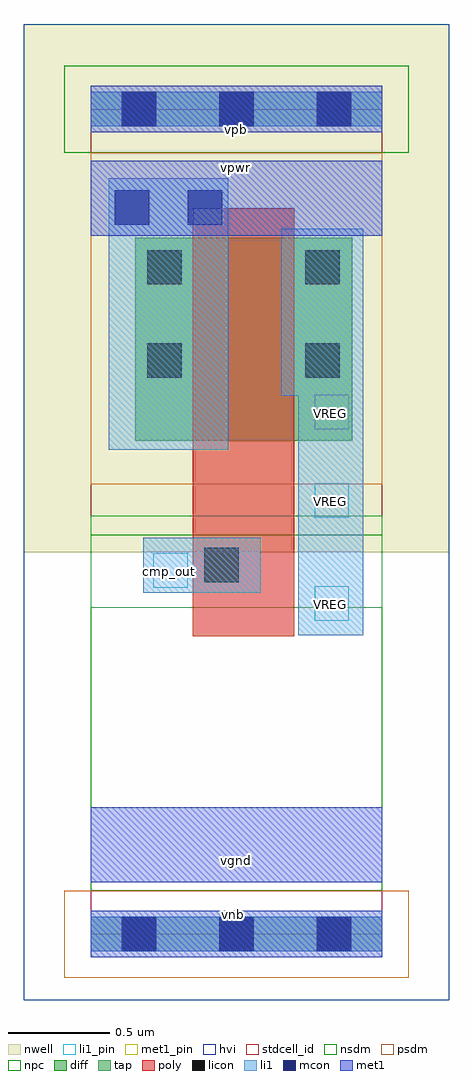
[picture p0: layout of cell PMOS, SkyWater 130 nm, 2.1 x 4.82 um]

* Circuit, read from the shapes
.subckt PMOS VREG cmp_out vgnd vnb vpb vpwr
XM1 VREG cmp_out vpwr vpb sky130_fd_pr__pfet_g5v0d10v5 w=1 l=0.5
.ends

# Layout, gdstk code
import gdstk
lib = gdstk.Library(unit=1e-6, precision=1e-09)
def R(c, l, rs):  # rectangles x0, y0, x1, y1
    for r in rs: c.add(gdstk.rectangle(r[:2], r[2:], *l))
def A(c, l, x, y, w, h, nx, ny, dx, dy):  # array of equal rectangles
    R(c, l, [(x+i*dx, y+j*dy, x+i*dx+w, y+j*dy+h) for i in range(nx) for j in range(ny)])
nwell = (64, 20)
diff = (65, 20)
tap = (65, 44)
poly = (66, 20)
licon = (66, 44)
li1_pin = (67, 16)
li1 = (67, 20)
mcon = (67, 44)
met1_pin = (68, 16)
met1 = (68, 20)
hvi = (75, 20)
stdcell_id = (81, 4)
nsdm = (93, 44)
psdm = (94, 20)
npc = (95, 20)

pmos = lib.new_cell('PMOS')
R(pmos, nwell, [(-0.33,1.885,1.77,4.49)])
R(pmos, diff, [(0.22,2.435,1.29,3.435)])
R(pmos, tap, [(0,-0.085,1.44,0.085), (0,3.985,1.44,4.155)])
R(pmos, poly, [(0.505,1.47,1.005,3.58)])
A(pmos, licon, 0.155, -0.085, 0.17, 0.17, 3, 2, 0.48, 4.07)
R(pmos, licon, [(0.56,1.735,0.73,1.905), (0.28,2.745,0.45,2.915), (1.06,2.745,1.23,2.915), (0.28,3.205,0.45,3.375), (1.06,3.205,1.23,3.375)])
R(pmos, li1_pin, [(1.105,1.545,1.275,1.715), (0.31,1.71,0.48,1.88), (1.105,2.055,1.275,2.225), (1.105,2.49,1.275,2.66)])
R(pmos, li1, [(0,-0.085,1.44,0.085), (1.025,1.475,1.345,3.48), (0.26,1.685,0.84,1.955), (0.09,2.39,0.68,3.73), (0.94,2.655,1.025,3.48), (0,3.985,1.44,4.155)])
A(pmos, mcon, 0.155, -0.085, 0.17, 0.17, 3, 2, 0.48, 4.07)
R(pmos, mcon, [(0.12,3.5,0.29,3.67), (0.48,3.5,0.65,3.67)])
R(pmos, met1_pin, [(0,0,1.44,0.115), (0,0.255,1.44,0.625), (0,3.445,1.44,3.815), (0,3.955,1.44,4.07)])
R(pmos, met1, [(0,-0.115,1.44,0.115), (0,0.255,1.44,0.625), (0,3.445,1.44,3.815), (0,3.955,1.44,4.185)])
R(pmos, hvi, [(-0.33,-0.325,1.77,4.49)])
R(pmos, stdcell_id, [(0,0,1.44,4.07)])
R(pmos, nsdm, [(0,0.215,1.44,1.97), (-0.13,3.855,1.57,4.285)])
R(pmos, psdm, [(-0.13,-0.215,1.57,0.215), (0,2.22,1.44,3.855)])
R(pmos, npc, [(0,1.61,1.44,2.065)])
pmos.add(gdstk.Label('vgnd', (0.72,0.365), layer=68, texttype=5))
pmos.add(gdstk.Label('vpb', (0.72,3.97), layer=68, texttype=5))
pmos.add(gdstk.Label('vpwr', (0.715,3.78), layer=68, texttype=5))
pmos.add(gdstk.Label('vnb', (0.705,0.095), layer=68, texttype=5))
pmos.add(gdstk.Label('VREG', (1.185,2.135), layer=67, texttype=16))
pmos.add(gdstk.Label('VREG', (1.185,2.57), layer=67, texttype=16))
pmos.add(gdstk.Label('VREG', (1.185,1.625), layer=67, texttype=16))
pmos.add(gdstk.Label('cmp_out', (0.39,1.79), layer=67, texttype=16))

lib.write_gds('PMOS.gds')
